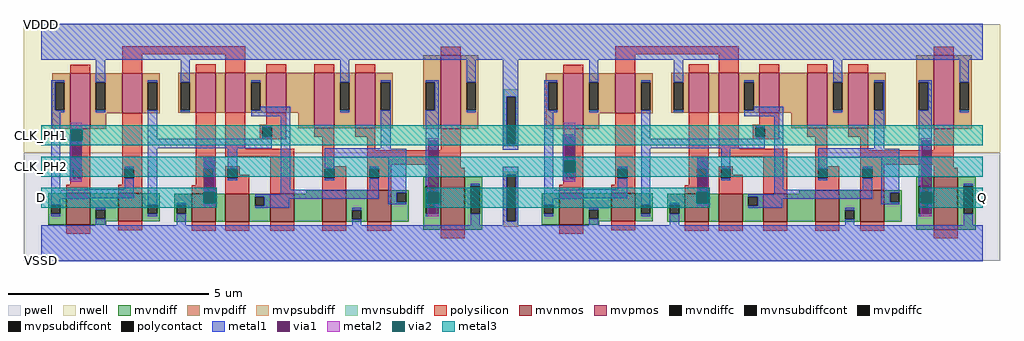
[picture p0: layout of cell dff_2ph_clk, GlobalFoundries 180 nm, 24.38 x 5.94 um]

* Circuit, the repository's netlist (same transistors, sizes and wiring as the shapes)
* NGSPICE file created from dff_2ph_clk.ext - technology: gf180mcuD

.subckt gf180mcu_fd_sc_mcu9t5v0__latq_1 D E Q VDD VSS VNW VPW
X0 VSS a_1020_652# Q VPW nfet_06v0 ad=0.5808p pd=3.52u as=0.5808p ps=3.52u w=1.32u l=0.6u
X1 a_504_110# a_36_92# VDD VNW pfet_06v0 ad=0.44p pd=2.88u as=0.476p ps=2.18u w=1u l=0.5u
X2 VDD a_1020_652# Q VNW pfet_06v0 ad=0.8052p pd=4.54u as=0.8052p ps=4.54u w=1.83u l=0.5u
X3 a_1264_107# a_36_92# a_1020_652# VPW nfet_06v0 ad=0.263p pd=1.49u as=0.182p ps=1.22u w=0.7u l=0.6u
X4 VSS E a_36_92# VPW nfet_06v0 ad=0.263p pd=1.49u as=0.3476p ps=2.46u w=0.79u l=0.6u
X5 VSS a_1364_532# a_1264_107# VPW nfet_06v0 ad=0.2054p pd=1.31u as=0.263p ps=1.49u w=0.79u l=0.6u
X6 VDD E a_36_92# VNW pfet_06v0 ad=0.476p pd=2.18u as=0.6072p ps=3.64u w=1.38u l=0.5u
X7 VDD a_1364_532# a_1224_652# VNW pfet_06v0 ad=0.3588p pd=1.9u as=0.426p ps=2.08u w=1.38u l=0.5u
X8 a_872_652# D VDD VNW pfet_06v0 ad=0.12p pd=1.24u as=0.44p ps=2.88u w=1u l=0.5u
X9 a_1364_532# a_1020_652# VDD VNW pfet_06v0 ad=0.6072p pd=3.64u as=0.3588p ps=1.9u w=1.38u l=0.5u
X10 a_1020_652# a_504_110# a_872_107# VPW nfet_06v0 ad=0.182p pd=1.22u as=83.99999f ps=0.94u w=0.7u l=0.6u
X11 a_872_107# D VSS VPW nfet_06v0 ad=83.99999f pd=0.94u as=0.308p ps=2.28u w=0.7u l=0.6u
X12 a_1020_652# a_36_92# a_872_652# VNW pfet_06v0 ad=0.26p pd=1.52u as=0.12p ps=1.24u w=1u l=0.5u
X13 a_504_110# a_36_92# VSS VPW nfet_06v0 ad=0.308p pd=2.28u as=0.263p ps=1.49u w=0.7u l=0.6u
X14 a_1364_532# a_1020_652# VSS VPW nfet_06v0 ad=0.3476p pd=2.46u as=0.2054p ps=1.31u w=0.79u l=0.6u
X15 a_1224_652# a_504_110# a_1020_652# VNW pfet_06v0 ad=0.426p pd=2.08u as=0.26p ps=1.52u w=1u l=0.5u
.ends

.subckt dff_2ph_clk VSSD VDDD CLK_PH1 CLK_PH2 D Q
Xgf180mcu_fd_sc_mcu9t5v0__latq_1_0 gf180mcu_fd_sc_mcu9t5v0__latq_1_1/Q CLK_PH2 Q VDDD
+ VSSD VDDD VSSD gf180mcu_fd_sc_mcu9t5v0__latq_1
Xgf180mcu_fd_sc_mcu9t5v0__latq_1_1 D CLK_PH1 gf180mcu_fd_sc_mcu9t5v0__latq_1_1/Q VDDD
+ VSSD VDDD VSSD gf180mcu_fd_sc_mcu9t5v0__latq_1
.ends

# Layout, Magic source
magic
tech gf180mcuD
magscale 1 10
<< metal1 >>
rect -2240 -90 2464 90
rect -2240 -1098 2464 -918
<< via1 >>
rect -2089 -635 -2037 -479
rect -1427 -754 -1375 -598
rect -306 -860 -254 -496
rect 375 -635 427 -479
rect 1037 -754 1089 -598
rect 2158 -860 2210 -496
<< metal2 >>
rect -2093 -440 -2037 -406
rect -2093 -496 -2091 -440
rect 371 -479 427 -406
rect -310 -496 -254 -484
rect -2093 -635 -2089 -496
rect -2093 -701 -2037 -635
rect -1427 -598 -1371 -585
rect -1375 -752 -1371 -598
rect -1373 -808 -1371 -752
rect -1427 -820 -1371 -808
rect -310 -752 -306 -496
rect 371 -596 375 -479
rect 2154 -496 2210 -484
rect 371 -652 373 -596
rect 1037 -598 1093 -585
rect 371 -701 427 -652
rect 1089 -752 1093 -598
rect -310 -808 -308 -752
rect 1091 -808 1093 -752
rect -310 -860 -306 -808
rect 1037 -820 1093 -808
rect 2154 -752 2158 -496
rect 2154 -808 2156 -752
rect -310 -872 -254 -860
rect 2154 -860 2158 -808
rect 2154 -872 2210 -860
<< via2 >>
rect -2091 -479 -2035 -440
rect -2091 -496 -2089 -479
rect -2089 -496 -2037 -479
rect -2037 -496 -2035 -479
rect -1429 -754 -1427 -752
rect -1427 -754 -1375 -752
rect -1375 -754 -1373 -752
rect -1429 -808 -1373 -754
rect 373 -635 375 -596
rect 375 -635 427 -596
rect 427 -635 429 -596
rect 373 -652 429 -635
rect -308 -808 -306 -752
rect -306 -808 -254 -752
rect -254 -808 -252 -752
rect 1035 -754 1037 -752
rect 1037 -754 1089 -752
rect 1089 -754 1091 -752
rect 1035 -808 1091 -754
rect 2156 -808 2158 -752
rect 2158 -808 2210 -752
rect 2210 -808 2212 -752
<< metal3 >>
rect -2241 -440 2464 -418
rect -2241 -496 -2091 -440
rect -2035 -496 2464 -440
rect -2241 -518 2464 -496
rect -2241 -596 2464 -574
rect -2241 -652 373 -596
rect 429 -652 2464 -596
rect -2241 -674 2464 -652
rect -2241 -752 -1363 -730
rect -2241 -808 -1429 -752
rect -1373 -808 -1363 -752
rect -2241 -830 -1363 -808
rect -318 -752 1101 -730
rect -318 -808 -308 -752
rect -252 -808 1035 -752
rect 1091 -808 1101 -752
rect -318 -830 1101 -808
rect 2146 -752 2464 -730
rect 2146 -808 2156 -752
rect 2212 -808 2464 -752
rect 2146 -830 2464 -808
use gf180mcu_fd_sc_mcu9t5v0__filltie  gf180mcu_fd_sc_mcu9t5v0__filltie_0
transform 1 0 0 0 1 -1008
box -86 -90 310 1098
use gf180mcu_fd_sc_mcu9t5v0__latq_1  gf180mcu_fd_sc_mcu9t5v0__latq_1_0
transform 1 0 224 0 1 -1008
box -86 -90 2326 1098
use gf180mcu_fd_sc_mcu9t5v0__latq_1  gf180mcu_fd_sc_mcu9t5v0__latq_1_1
transform 1 0 -2240 0 1 -1008
box -86 -90 2326 1098
<< labels >>
flabel metal1 s -2238 -1096 -2238 -1096 2 FreeSans 73 0 0 0 VSSD
port 1 nsew
flabel metal1 s -2238 88 -2238 88 4 FreeSans 73 0 0 0 VDDD
port 2 nsew
flabel metal3 s -2239 -468 -2239 -468 2 FreeSans 89 0 0 0 CLK_PH1
port 3 nsew
flabel metal3 s -2239 -624 -2239 -624 2 FreeSans 89 0 0 0 CLK_PH2
port 4 nsew
flabel metal3 s -2239 -780 -2239 -780 2 FreeSans 89 0 0 0 D
port 5 nsew
flabel metal3 s 2462 -780 2462 -780 8 FreeSans 89 0 0 0 Q
port 6 nsew
<< properties >>
string path -11.205 -2.340 12.320 -2.340 
<< end >>

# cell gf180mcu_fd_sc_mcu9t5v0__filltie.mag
magic
tech gf180mcuD
magscale 1 10
<< nwell >>
rect -86 453 310 1094
<< pwell >>
rect -86 -86 310 453
<< mvpsubdiff >>
rect 72 344 144 357
rect 72 110 85 344
rect 131 110 144 344
rect 72 82 144 110
<< mvnsubdiff >>
rect 72 732 144 771
rect 72 498 85 732
rect 131 498 144 732
rect 72 485 144 498
<< mvpsubdiffcont >>
rect 85 110 131 344
<< mvnsubdiffcont >>
rect 85 498 131 732
<< metal1 >>
rect 0 918 224 1098
rect 66 732 142 918
rect 66 498 85 732
rect 131 498 142 732
rect 66 468 142 498
rect 66 344 142 382
rect 66 110 85 344
rect 131 110 142 344
rect 66 90 142 110
rect 0 -90 224 90
<< labels >>
flabel metal1 s 112 -90 112 -90 0 FreeSans 200 0 0 0 VSS
port 1 nsew
flabel metal1 s 112 1098 112 1098 0 FreeSans 200 0 0 0 VDD
port 2 nsew
<< properties >>
string FIXED_BBOX 0 0 224 1008
<< end >>

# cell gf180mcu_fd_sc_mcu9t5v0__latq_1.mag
magic
tech gf180mcuD
magscale 1 10
<< nwell >>
rect -86 453 2326 1094
<< pwell >>
rect -86 -86 2326 453
<< mvnmos >>
rect 124 92 244 250
rect 384 110 504 250
rect 752 107 872 247
rect 920 107 1040 247
rect 1144 107 1264 247
rect 1404 107 1524 265
rect 1628 107 1748 265
rect 1996 69 2116 333
<< mvpmos >>
rect 144 573 244 849
rect 404 649 504 849
rect 772 652 872 852
rect 920 652 1020 852
rect 1124 652 1224 852
rect 1364 576 1464 852
rect 1568 576 1668 852
rect 1996 573 2096 939
<< mvndiff >>
rect 36 193 124 250
rect 36 147 49 193
rect 95 147 124 193
rect 36 92 124 147
rect 244 168 384 250
rect 244 122 273 168
rect 319 122 384 168
rect 244 110 384 122
rect 504 193 592 250
rect 1908 287 1996 333
rect 1324 247 1404 265
rect 504 147 533 193
rect 579 147 592 193
rect 504 110 592 147
rect 664 193 752 247
rect 664 147 677 193
rect 723 147 752 193
rect 244 92 324 110
rect 664 107 752 147
rect 872 107 920 247
rect 1040 234 1144 247
rect 1040 188 1069 234
rect 1115 188 1144 234
rect 1040 107 1144 188
rect 1264 107 1404 247
rect 1524 166 1628 265
rect 1524 120 1553 166
rect 1599 120 1628 166
rect 1524 107 1628 120
rect 1748 252 1836 265
rect 1748 206 1777 252
rect 1823 206 1836 252
rect 1748 107 1836 206
rect 1908 147 1921 287
rect 1967 147 1996 287
rect 1908 69 1996 147
rect 2116 287 2204 333
rect 2116 147 2145 287
rect 2191 147 2204 287
rect 2116 69 2204 147
<< mvpdiff >>
rect 56 805 144 849
rect 56 665 69 805
rect 115 665 144 805
rect 56 573 144 665
rect 244 805 404 849
rect 244 665 273 805
rect 319 665 404 805
rect 244 649 404 665
rect 504 805 592 849
rect 504 665 533 805
rect 579 665 592 805
rect 504 649 592 665
rect 684 805 772 852
rect 684 665 697 805
rect 743 665 772 805
rect 684 652 772 665
rect 872 652 920 852
rect 1020 805 1124 852
rect 1020 665 1049 805
rect 1095 665 1124 805
rect 1020 652 1124 665
rect 1224 652 1364 852
rect 244 573 324 649
rect 1284 576 1364 652
rect 1464 805 1568 852
rect 1464 665 1493 805
rect 1539 665 1568 805
rect 1464 576 1568 665
rect 1668 805 1756 852
rect 1668 665 1697 805
rect 1743 665 1756 805
rect 1668 576 1756 665
rect 1908 805 1996 939
rect 1908 665 1921 805
rect 1967 665 1996 805
rect 1908 573 1996 665
rect 2096 805 2184 939
rect 2096 665 2125 805
rect 2171 665 2184 805
rect 2096 573 2184 665
<< mvndiffc >>
rect 49 147 95 193
rect 273 122 319 168
rect 533 147 579 193
rect 677 147 723 193
rect 1069 188 1115 234
rect 1553 120 1599 166
rect 1777 206 1823 252
rect 1921 147 1967 287
rect 2145 147 2191 287
<< mvpdiffc >>
rect 69 665 115 805
rect 273 665 319 805
rect 533 665 579 805
rect 697 665 743 805
rect 1049 665 1095 805
rect 1493 665 1539 805
rect 1697 665 1743 805
rect 1921 665 1967 805
rect 2125 665 2171 805
<< polysilicon >>
rect 404 944 1020 984
rect 144 849 244 893
rect 404 849 504 944
rect 772 852 872 896
rect 920 852 1020 944
rect 1996 939 2096 983
rect 1124 852 1224 896
rect 1364 852 1464 896
rect 1568 852 1668 896
rect 144 372 244 573
rect 144 326 157 372
rect 203 326 244 372
rect 144 294 244 326
rect 404 372 504 649
rect 404 326 417 372
rect 463 326 504 372
rect 404 294 504 326
rect 124 250 244 294
rect 384 250 504 294
rect 772 372 872 652
rect 920 472 1020 652
rect 1124 608 1224 652
rect 1124 592 1223 608
rect 1092 579 1223 592
rect 1092 533 1105 579
rect 1151 533 1223 579
rect 1092 520 1223 533
rect 1364 532 1464 576
rect 1568 532 1668 576
rect 920 433 1264 472
rect 1011 432 1264 433
rect 772 326 813 372
rect 859 326 872 372
rect 772 291 872 326
rect 752 247 872 291
rect 920 372 992 385
rect 920 326 933 372
rect 979 343 992 372
rect 979 326 1040 343
rect 920 247 1040 326
rect 1144 247 1264 432
rect 1404 385 1464 532
rect 1628 465 1668 532
rect 1996 465 2096 573
rect 1628 393 2096 465
rect 1404 372 1524 385
rect 1404 326 1417 372
rect 1463 326 1524 372
rect 1404 265 1524 326
rect 1628 372 1748 393
rect 1628 326 1641 372
rect 1687 326 1748 372
rect 1996 377 2096 393
rect 1996 333 2116 377
rect 1628 265 1748 326
rect 124 48 244 92
rect 384 66 504 110
rect 752 63 872 107
rect 920 63 1040 107
rect 1144 63 1264 107
rect 1404 63 1524 107
rect 1628 63 1748 107
rect 1996 25 2116 69
<< polycontact >>
rect 157 326 203 372
rect 417 326 463 372
rect 1105 533 1151 579
rect 813 326 859 372
rect 933 326 979 372
rect 1417 326 1463 372
rect 1641 326 1687 372
<< metal1 >>
rect 0 918 2240 1098
rect 49 805 115 816
rect 49 665 69 805
rect 49 654 115 665
rect 273 805 319 918
rect 273 654 319 665
rect 533 805 579 816
rect 49 269 95 654
rect 142 372 203 542
rect 533 522 579 665
rect 697 805 743 918
rect 697 654 743 665
rect 1049 805 1095 816
rect 1493 805 1539 918
rect 1095 665 1243 682
rect 1049 636 1243 665
rect 1493 654 1539 665
rect 1697 805 1747 816
rect 1743 665 1747 805
rect 1105 579 1151 590
rect 1105 522 1151 533
rect 533 476 1151 522
rect 142 326 157 372
rect 142 315 203 326
rect 417 372 463 383
rect 417 271 463 326
rect 217 269 463 271
rect 49 225 463 269
rect 49 223 231 225
rect 49 193 95 223
rect 533 193 579 476
rect 813 372 866 430
rect 859 326 866 372
rect 813 242 866 326
rect 933 372 979 476
rect 933 315 979 326
rect 1197 269 1243 636
rect 1697 475 1747 665
rect 1417 473 1747 475
rect 1921 805 1986 816
rect 1967 665 1986 805
rect 1417 429 1823 473
rect 1417 372 1463 429
rect 1417 315 1463 326
rect 1641 372 1687 383
rect 1641 269 1687 326
rect 1197 245 1687 269
rect 1069 234 1687 245
rect 49 136 95 147
rect 273 168 319 179
rect 533 136 579 147
rect 677 193 723 204
rect 1115 223 1687 234
rect 1733 252 1823 429
rect 1115 188 1238 223
rect 1733 206 1777 252
rect 1733 195 1823 206
rect 1921 287 1986 665
rect 2125 805 2171 918
rect 2125 654 2171 665
rect 1069 177 1238 188
rect 273 90 319 122
rect 677 90 723 147
rect 1553 166 1599 177
rect 1967 147 1986 287
rect 1921 136 1986 147
rect 2145 287 2191 298
rect 1553 90 1599 120
rect 2145 90 2191 147
rect 0 -90 2240 90
<< labels >>
flabel metal1 s 840 280 840 280 0 FreeSans 200 0 0 0 D
port 1 nsew
flabel metal1 s 168 392 168 392 0 FreeSans 200 0 0 0 E
port 2 nsew
flabel metal1 s 1960 504 1960 504 0 FreeSans 200 0 0 0 Q
port 3 nsew
flabel metal1 s 1120 1098 1120 1098 0 FreeSans 200 0 0 0 VDD
port 4 nsew
flabel metal1 s 1120 -90 1120 -90 0 FreeSans 200 0 0 0 VSS
port 5 nsew
flabel nwell s 69 784 69 784 0 FreeSans 400 0 0 0 VNW
port 6 nsew
flabel pwell s 68 -17 68 -17 0 FreeSans 400 0 0 0 VPW
port 7 nsew
<< properties >>
string FIXED_BBOX 0 0 2240 1008
<< end >>
